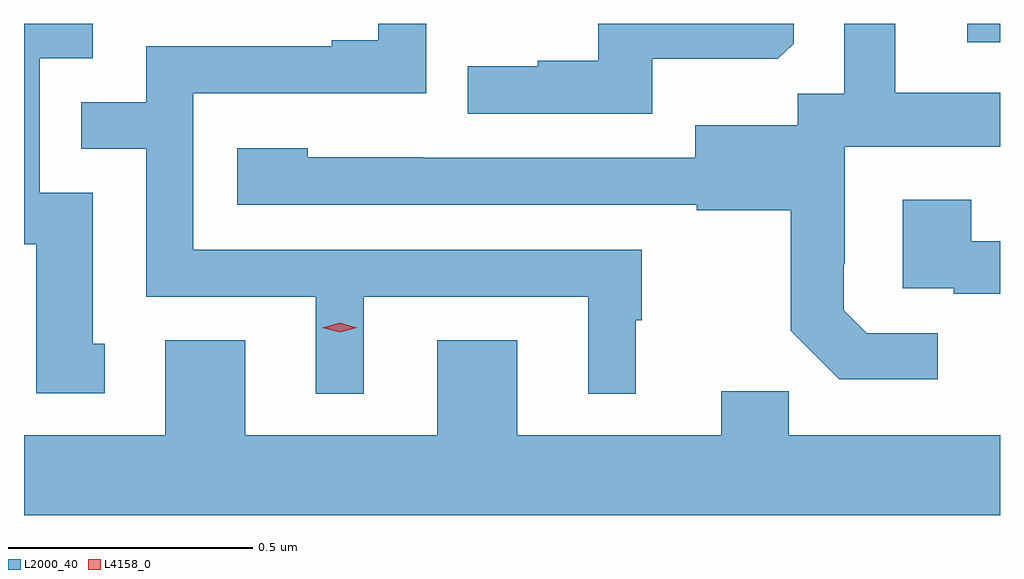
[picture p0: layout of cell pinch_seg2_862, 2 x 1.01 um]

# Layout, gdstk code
import gdstk
lib = gdstk.Library(unit=1e-6, precision=1e-09)
def R(c, l, rs):  # rectangles x0, y0, x1, y1
    for r in rs: c.add(gdstk.rectangle(r[:2], r[2:], *l))
def P(c, l, *ps):  # polygons
    for p in ps: c.add(gdstk.Polygon(p, *l))
L2000_40 = (2000, 40)
L4158_0 = (4158, 0)

pinch_seg2_862 = lib.new_cell('pinch_seg2_862')
R(pinch_seg2_862, L2000_40, [(881.177,608.646,881.244,608.684)])
P(pinch_seg2_862, L2000_40, [(881.116,608.049),(880.971,608.049),(880.924,608.096),(880.924,608.191),(880.926,608.191),(880.926,608.432),(881.244,608.432),(881.244,608.542),(881.029,608.542),(881.029,608.684),(880.925,608.684),(880.925,608.54),(880.83,608.54),(880.83,608.476),(880.619,608.476),(880.619,608.409),(880.061,608.409),(880.061,608.41),(879.825,608.41),(879.825,608.428),(879.681,608.428),(879.681,608.313),(880.623,608.313),(880.623,608.301),(880.815,608.301),(880.815,608.055),(880.915,607.955),(881.116,607.955)],
  [(879.94,608.124),(880.4,608.124),(880.4,607.925),(880.498,607.925),(880.498,608.076),(880.51,608.076),(880.51,608.22),(879.591,608.22),(879.591,608.541),(880.068,608.541),(880.068,608.684),(879.97,608.684),(879.97,608.65),(879.875,608.65),(879.875,608.637),(879.495,608.637),(879.495,608.523),(879.361,608.523),(879.361,608.427),(879.495,608.427),(879.495,608.124),(879.842,608.124),(879.842,607.925),(879.94,607.925)],
  [(879.409,608.028),(879.385,608.028),(879.385,608.337),(879.276,608.337),(879.276,608.613),(879.385,608.613),(879.385,608.684),(879.244,608.684),(879.244,608.232),(879.269,608.232),(879.269,607.926),(879.409,607.926)],
  [(880.531,608.612),(880.789,608.612),(880.821,608.643),(880.821,608.684),(880.421,608.684),(880.421,608.608),(880.297,608.608),(880.297,608.596),(880.153,608.596),(880.153,608.499),(880.531,608.499)],
  [(881.244,608.238),(881.185,608.238),(881.185,608.323),(881.045,608.323),(881.045,608.142),(881.149,608.142),(881.149,608.13),(881.244,608.13)],
  [(881.244,607.84),(880.811,607.84),(880.811,607.931),(880.673,607.931),(880.673,607.84),(880.255,607.84),(880.255,608.035),(880.091,608.035),(880.091,607.84),(879.697,607.84),(879.697,608.035),(879.533,608.035),(879.533,607.84),(879.244,607.84),(879.244,607.676),(881.244,607.676)])
P(pinch_seg2_862, L4158_0, [(879.891,608.051),(879.855,608.061),(879.855,608.061),(879.855,608.061),(879.891,608.071),(879.927,608.061),(879.927,608.061),(879.927,608.061)])

lib.write_gds('pinch_seg2_862.gds')
